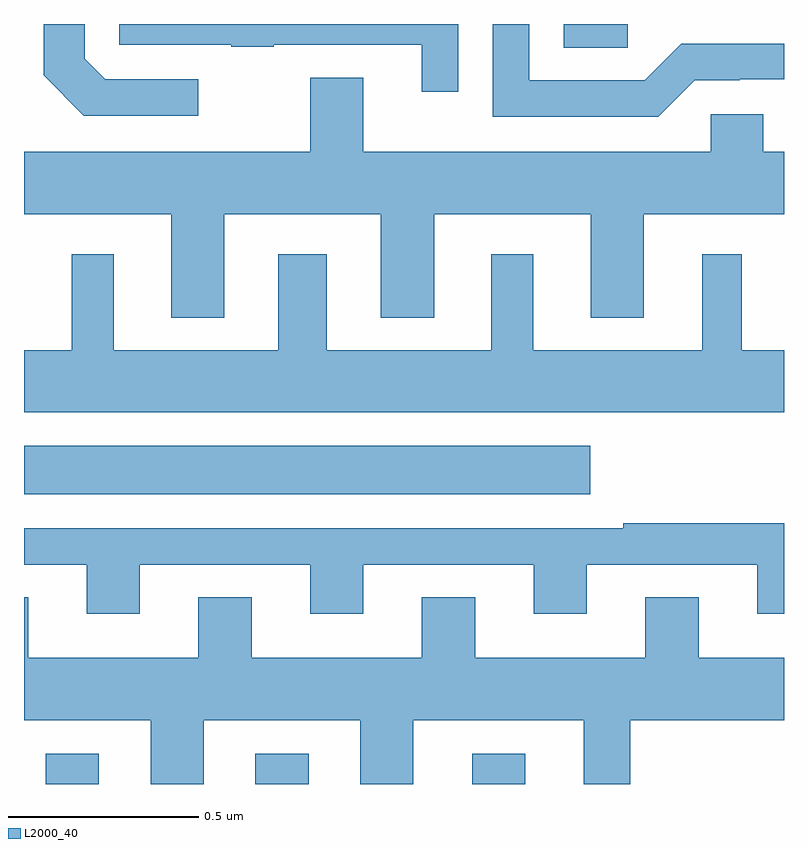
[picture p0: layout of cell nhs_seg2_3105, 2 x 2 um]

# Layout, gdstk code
import gdstk
lib = gdstk.Library(unit=1e-6, precision=1e-09)
def R(c, l, rs):  # rectangles x0, y0, x1, y1
    for r in rs: c.add(gdstk.rectangle(r[:2], r[2:], *l))
def P(c, l, *ps):  # polygons
    for p in ps: c.add(gdstk.Polygon(p, *l))
L2000_40 = (2000, 40)

nhs_seg2_3105 = lib.new_cell('nhs_seg2_3105')
R(nhs_seg2_3105, L2000_40, [(149.057,648.8,149.197,648.88), (149.609,648.8,149.749,648.88), (150.179,648.8,150.319,648.88), (149,649.562,150.49,649.69), (150.42,650.737,150.589,650.8)])
P(nhs_seg2_3105, L2000_40, [(150.143,650.8),(149.25,650.8),(149.25,650.745),(149.545,650.745),(149.545,650.74),(149.657,650.74),(149.657,650.745),(150.047,650.745),(150.047,650.622),(150.143,650.622)],
  [(150.765,650.652),(150.884,650.652),(150.884,650.655),(150.999,650.655),(151,650.654),(151,650.748),(150.729,650.748),(150.633,650.652),(150.33,650.652),(150.33,650.8),(150.234,650.8),(150.234,650.556),(150.669,650.556)],
  [(149.458,650.655),(149.214,650.655),(149.16,650.709),(149.16,650.8),(149.052,650.8),(149.052,650.665),(149.157,650.559),(149.458,650.559)],
  [(149.527,650.3),(149.939,650.3),(149.939,650.027),(150.079,650.027),(150.079,650.3),(150.491,650.3),(150.491,650.027),(150.631,650.027),(150.631,650.3),(151,650.3),(151,650.464),(150.945,650.464),(150.945,650.562),(150.807,650.562),(150.807,650.464),(149.893,650.464),(149.893,650.659),(149.753,650.659),(149.753,650.464),(149,650.464),(149,650.3),(149.387,650.3),(149.387,650.027),(149.527,650.027)],
  [(151,649.942),(150.889,649.942),(150.889,650.194),(150.785,650.194),(150.785,649.942),(150.34,649.942),(150.34,650.194),(150.23,650.194),(150.23,649.942),(149.797,649.942),(149.797,650.194),(149.669,650.194),(149.669,649.942),(149.236,649.942),(149.236,650.194),(149.126,650.194),(149.126,649.942),(149,649.942),(149,649.778),(151,649.778)],
  [(149.305,649.377),(149.753,649.377),(149.753,649.248),(149.893,649.248),(149.893,649.377),(150.341,649.377),(150.341,649.248),(150.481,649.248),(150.481,649.377),(150.929,649.377),(150.929,649.248),(151,649.248),(151,649.486),(150.577,649.486),(150.577,649.473),(149,649.473),(149,649.377),(149.165,649.377),(149.165,649.248),(149.305,649.248)],
  [(149.473,648.968),(149.885,648.968),(149.885,648.8),(150.024,648.8),(150.024,648.968),(150.473,648.968),(150.473,648.8),(150.595,648.8),(150.595,648.968),(151,648.968),(151,649.132),(150.775,649.132),(150.775,649.292),(150.635,649.292),(150.635,649.132),(150.187,649.132),(150.187,649.292),(150.047,649.292),(150.047,649.132),(149.599,649.132),(149.599,649.292),(149.459,649.292),(149.459,649.132),(149.011,649.132),(149.011,649.292),(149,649.292),(149,648.968),(149.333,648.968),(149.333,648.8),(149.473,648.8)])

lib.write_gds('nhs_seg2_3105.gds')
